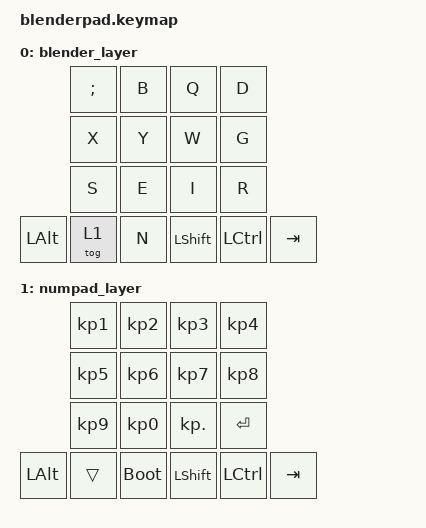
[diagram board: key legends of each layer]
#include <behaviors.dtsi>
#include <dt-bindings/zmk/keys.h>

/ {
    keymap {
        compatible = "zmk,keymap";

        blender_layer {
            bindings = <
                &kp SEMI &kp B &kp Q &kp D
                &kp X &kp Y &kp W &kp G
                &kp S &kp E &kp I &kp R
                &kp LALT &tog 1 &kp N &kp LSHFT &kp LCTRL &kp TAB
            >;
        };

        numpad_layer {
            bindings = <
                &kp KP_N1 &kp KP_N2 &kp KP_N3 &kp KP_N4
                &kp KP_N5 &kp KP_N6 &kp KP_N7 &kp KP_N8
                &kp KP_N9 &kp KP_N0 &kp KP_DOT &kp RET
                &kp LALT &trans &bootloader &kp LSHFT &kp LCTRL &kp TAB
            >;
        };
    };
};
